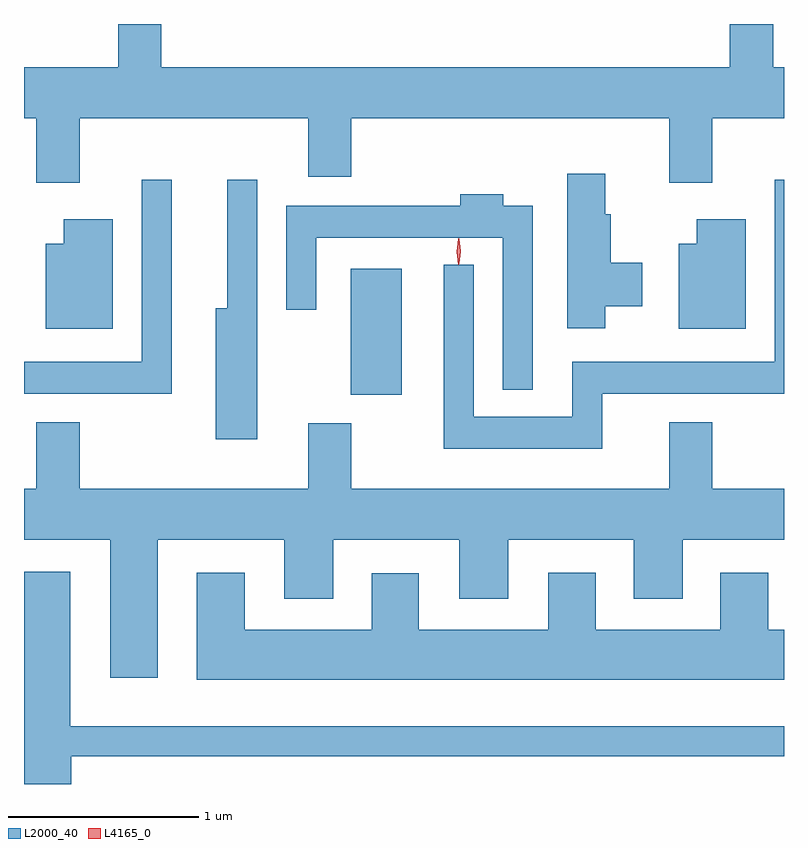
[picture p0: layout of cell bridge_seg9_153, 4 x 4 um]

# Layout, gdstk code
import gdstk
lib = gdstk.Library(unit=1e-6, precision=1e-09)
def R(c, l, rs):  # rectangles x0, y0, x1, y1
    for r in rs: c.add(gdstk.rectangle(r[:2], r[2:], *l))
def P(c, l, *ps):  # polygons
    for p in ps: c.add(gdstk.Polygon(p, *l))
L2000_40 = (2000, 40)
L4165_0 = (4165, 0)

bridge_seg9_153 = lib.new_cell('bridge_seg9_153')
R(bridge_seg9_153, L2000_40, [(1438.856,2065.841,1439.124,2066.504)])
P(bridge_seg9_153, L2000_40, [(1437.429,2067.296),(1438.631,2067.296),(1438.631,2066.986),(1438.859,2066.986),(1438.859,2067.296),(1440.531,2067.296),(1440.531,2066.956),(1440.759,2066.956),(1440.759,2067.296),(1441.136,2067.296),(1441.136,2067.564),(1441.079,2067.564),(1441.079,2067.791),(1440.851,2067.791),(1440.851,2067.564),(1437.859,2067.564),(1437.859,2067.791),(1437.631,2067.791),(1437.631,2067.564),(1437.136,2067.564),(1437.136,2067.296),(1437.201,2067.296),(1437.201,2066.956),(1437.429,2066.956)],
  [(1440.194,2066.306),(1440.389,2066.306),(1440.389,2066.534),(1440.224,2066.534),(1440.224,2066.789),(1440.194,2066.789),(1440.194,2067.004),(1439.996,2067.004),(1439.996,2066.191),(1440.194,2066.191)],
  [(1437.914,2066.972),(1437.756,2066.972),(1437.756,2066.014),(1437.136,2066.014),(1437.136,2065.846),(1437.914,2065.846)],
  [(1440.179,2065.846),(1441.136,2065.846),(1441.136,2066.972),(1441.086,2066.972),(1441.086,2066.014),(1440.021,2066.014),(1440.021,2065.724),(1439.504,2065.724),(1439.504,2066.523),(1439.346,2066.523),(1439.346,2065.556),(1440.179,2065.556)],
  [(1438.364,2066.972),(1438.206,2066.972),(1438.206,2066.294),(1438.146,2066.294),(1438.146,2065.606),(1438.364,2065.606)],
  [(1439.814,2066.834),(1439.659,2066.834),(1439.659,2066.894),(1439.431,2066.894),(1439.431,2066.834),(1438.516,2066.834),(1438.516,2066.288),(1438.674,2066.288),(1438.674,2066.666),(1439.656,2066.666),(1439.656,2065.867),(1439.814,2065.867)],
  [(1437.604,2066.764),(1437.346,2066.764),(1437.346,2066.634),(1437.251,2066.634),(1437.251,2066.186),(1437.604,2066.186)],
  [(1440.934,2066.764),(1440.676,2066.764),(1440.676,2066.634),(1440.581,2066.634),(1440.581,2066.186),(1440.934,2066.186)],
  [(1437.839,2065.076),(1438.506,2065.076),(1438.506,2064.766),(1438.764,2064.766),(1438.764,2065.076),(1439.426,2065.076),(1439.426,2064.766),(1439.684,2064.766),(1439.684,2065.076),(1440.346,2065.076),(1440.346,2064.766),(1440.604,2064.766),(1440.604,2065.076),(1441.136,2065.076),(1441.136,2065.344),(1440.759,2065.344),(1440.759,2065.694),(1440.531,2065.694),(1440.531,2065.344),(1438.859,2065.344),(1438.859,2065.689),(1438.631,2065.689),(1438.631,2065.344),(1437.429,2065.344),(1437.429,2065.694),(1437.201,2065.694),(1437.201,2065.344),(1437.136,2065.344),(1437.136,2065.076),(1437.591,2065.076),(1437.591,2064.351),(1437.839,2064.351)],
  [(1437.384,2063.936),(1441.136,2063.936),(1441.136,2064.094),(1437.379,2064.094),(1437.379,2064.909),(1437.136,2064.909),(1437.136,2063.791),(1437.384,2063.791)],
  [(1441.136,2064.604),(1441.054,2064.604),(1441.054,2064.904),(1440.801,2064.904),(1440.801,2064.604),(1440.144,2064.604),(1440.144,2064.904),(1439.896,2064.904),(1439.896,2064.604),(1439.214,2064.604),(1439.214,2064.899),(1438.966,2064.899),(1438.966,2064.604),(1438.299,2064.604),(1438.299,2064.904),(1438.046,2064.904),(1438.046,2064.341),(1441.136,2064.341)])
P(bridge_seg9_153, L4165_0, [(1439.422,2066.524),(1439.413,2066.593),(1439.422,2066.662),(1439.423,2066.663),(1439.423,2066.662),(1439.433,2066.593),(1439.423,2066.524),(1439.423,2066.524)],
  [(1439.425,2066.527),(1439.425,2066.528),(1439.416,2066.594),(1439.425,2066.66),(1439.426,2066.66),(1439.426,2066.66),(1439.435,2066.594),(1439.426,2066.528)])

lib.write_gds('bridge_seg9_153.gds')
